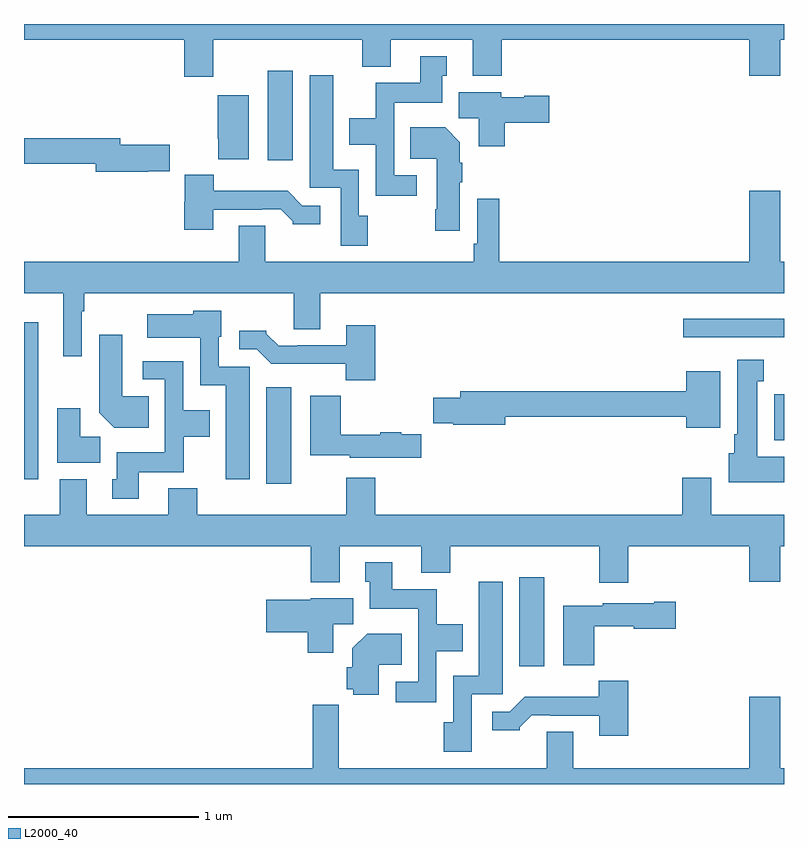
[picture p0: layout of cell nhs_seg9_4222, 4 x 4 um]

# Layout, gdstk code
import gdstk
lib = gdstk.Library(unit=1e-6, precision=1e-09)
def R(c, l, rs):  # rectangles x0, y0, x1, y1
    for r in rs: c.add(gdstk.rectangle(r[:2], r[2:], *l))
def P(c, l, *ps):  # polygons
    for p in ps: c.add(gdstk.Polygon(p, *l))
L2000_40 = (2000, 40)

nhs_seg9_4222 = lib.new_cell('nhs_seg9_4222')
R(nhs_seg9_4222, L2000_40, [(355.607,1197.12,355.738,1197.589), (354.275,1198.08,354.406,1198.588), (353,1198.104,353.074,1198.93), (356.948,1198.31,357,1198.552), (356.469,1198.851,357,1198.948), (354.284,1199.784,354.415,1200.253)])
P(nhs_seg9_4222, L2000_40, [(353.995,1200.416),(354.779,1200.416),(354.779,1200.275),(354.931,1200.275),(354.931,1200.416),(355.361,1200.416),(355.361,1200.227),(355.514,1200.227),(355.514,1200.416),(356.816,1200.416),(356.816,1200.228),(356.98,1200.228),(356.98,1200.416),(357,1200.416),(357,1200.5),(353,1200.5),(353,1200.416),(353.843,1200.416),(353.843,1200.222),(353.995,1200.222)],
  [(355.066,1199.703),(354.948,1199.703),(354.948,1200.086),(355.201,1200.086),(355.201,1200.228),(355.225,1200.228),(355.225,1200.331),(355.085,1200.331),(355.085,1200.19),(354.85,1200.19),(354.85,1200.004),(354.713,1200.004),(354.713,1199.864),(354.852,1199.864),(354.852,1199.595),(355.066,1199.595)],
  [(354.81,1199.49),(354.762,1199.49),(354.762,1199.734),(354.628,1199.734),(354.628,1200.229),(354.503,1200.229),(354.503,1199.637),(354.666,1199.637),(354.666,1199.334),(354.81,1199.334)],
  [(355.529,1199.981),(355.765,1199.981),(355.765,1200.123),(355.632,1200.123),(355.632,1200.115),(355.512,1200.115),(355.512,1200.142),(355.289,1200.142),(355.289,1200.004),(355.394,1200.004),(355.394,1199.856),(355.529,1199.856)],
  [(354.184,1200.124),(354.02,1200.124),(354.02,1199.896),(354.022,1199.896),(354.022,1199.789),(354.184,1199.789)],
  [(355.294,1199.668),(355.307,1199.668),(355.307,1199.771),(355.294,1199.771),(355.294,1199.878),(355.216,1199.956),(355.033,1199.956),(355.033,1199.792),(355.172,1199.792),(355.172,1199.524),(355.165,1199.524),(355.165,1199.412),(355.294,1199.412)],
  [(353.654,1199.724),(353.767,1199.724),(353.767,1199.864),(353.506,1199.864),(353.506,1199.9),(353,1199.9),(353,1199.764),(353.378,1199.764),(353.378,1199.722),(353.654,1199.722)],
  [(353.995,1199.523),(354.251,1199.523),(354.251,1199.526),(354.35,1199.526),(354.414,1199.462),(354.414,1199.447),(354.559,1199.447),(354.559,1199.544),(354.465,1199.544),(354.387,1199.623),(353.998,1199.623),(353.998,1199.707),(353.846,1199.707),(353.846,1199.565),(353.843,1199.565),(353.843,1199.418),(353.995,1199.418)],
  [(353.304,1198.988),(353.317,1198.988),(353.317,1199.084),(354.419,1199.084),(354.419,1198.894),(354.559,1198.894),(354.559,1199.084),(357,1199.084),(357,1199.248),(356.98,1199.248),(356.98,1199.623),(356.816,1199.623),(356.816,1199.248),(355.502,1199.248),(355.502,1199.581),(355.386,1199.581),(355.386,1199.344),(355.366,1199.344),(355.366,1199.248),(354.271,1199.248),(354.271,1199.438),(354.131,1199.438),(354.131,1199.248),(353,1199.248),(353,1199.084),(353.207,1199.084),(353.207,1198.752),(353.304,1198.752)],
  [(354.187,1198.695),(354.024,1198.695),(354.024,1198.854),(354.037,1198.854),(354.037,1198.99),(353.892,1198.99),(353.892,1198.972),(353.649,1198.972),(353.649,1198.85),(353.928,1198.85),(353.928,1198.598),(354.062,1198.598),(354.062,1198.104),(354.187,1198.104)],
  [(354.848,1198.915),(354.695,1198.915),(354.695,1198.809),(354.439,1198.809),(354.439,1198.806),(354.34,1198.806),(354.276,1198.87),(354.276,1198.885),(354.132,1198.885),(354.132,1198.788),(354.225,1198.788),(354.301,1198.712),(354.693,1198.712),(354.693,1198.625),(354.848,1198.625)],
  [(353.657,1198.54),(353.518,1198.54),(353.518,1198.864),(353.396,1198.864),(353.396,1198.454),(353.474,1198.376),(353.657,1198.376)],
  [(357,1198.222),(356.86,1198.222),(356.86,1198.619),(356.893,1198.619),(356.893,1198.732),(356.753,1198.732),(356.753,1198.342),(356.738,1198.342),(356.738,1198.242),(356.708,1198.242),(356.708,1198.088),(357,1198.088)],
  [(353.605,1198.142),(353.841,1198.142),(353.841,1198.328),(353.977,1198.328),(353.977,1198.468),(353.838,1198.468),(353.838,1198.725),(353.625,1198.725),(353.625,1198.629),(353.742,1198.629),(353.742,1198.246),(353.489,1198.246),(353.489,1198.104),(353.465,1198.104),(353.465,1198.002),(353.605,1198.002)],
  [(356.665,1198.672),(356.486,1198.672),(356.486,1198.568),(355.295,1198.568),(355.295,1198.532),(355.153,1198.532),(355.153,1198.398),(355.258,1198.398),(355.258,1198.39),(355.534,1198.39),(355.534,1198.432),(356.486,1198.432),(356.486,1198.376),(356.665,1198.376)],
  [(355.091,1198.34),(354.986,1198.34),(354.986,1198.352),(354.876,1198.352),(354.876,1198.339),(354.668,1198.339),(354.668,1198.543),(354.506,1198.543),(354.506,1198.229),(354.714,1198.229),(354.714,1198.217),(355.091,1198.217)],
  [(353.401,1198.328),(353.296,1198.328),(353.296,1198.477),(353.174,1198.477),(353.174,1198.19),(353.401,1198.19)],
  [(355.091,1197.611),(355.244,1197.611),(355.244,1197.752),(356.027,1197.752),(356.027,1197.558),(356.18,1197.558),(356.18,1197.752),(356.816,1197.752),(356.816,1197.564),(356.98,1197.564),(356.98,1197.752),(357,1197.752),(357,1197.916),(356.617,1197.916),(356.617,1198.111),(356.465,1198.111),(356.465,1197.916),(354.848,1197.916),(354.848,1198.111),(354.695,1198.111),(354.695,1197.916),(353.912,1197.916),(353.912,1198.057),(353.759,1198.057),(353.759,1197.916),(353.329,1197.916),(353.329,1198.105),(353.189,1198.105),(353.189,1197.916),(353,1197.916),(353,1197.752),(354.509,1197.752),(354.509,1197.563),(354.661,1197.563),(354.661,1197.752),(355.091,1197.752)],
  [(355.17,1197.2),(355.309,1197.2),(355.309,1197.34),(355.173,1197.34),(355.173,1197.526),(354.937,1197.526),(354.937,1197.667),(354.797,1197.667),(354.797,1197.564),(354.821,1197.564),(354.821,1197.422),(355.074,1197.422),(355.074,1197.039),(354.957,1197.039),(354.957,1196.931),(355.17,1196.931)],
  [(355.356,1196.973),(355.519,1196.973),(355.519,1197.565),(355.394,1197.565),(355.394,1197.07),(355.26,1197.07),(355.26,1196.826),(355.208,1196.826),(355.208,1196.67),(355.356,1196.67)],
  [(354.628,1197.34),(354.733,1197.34),(354.733,1197.478),(354.51,1197.478),(354.51,1197.469),(354.276,1197.469),(354.276,1197.299),(354.494,1197.299),(354.494,1197.192),(354.628,1197.192)],
  [(356,1197.329),(356.208,1197.329),(356.208,1197.317),(356.431,1197.317),(356.431,1197.459),(356.318,1197.459),(356.318,1197.451),(356.046,1197.451),(356.046,1197.439),(355.838,1197.439),(355.838,1197.125),(356,1197.125)],
  [(354.868,1197.128),(354.989,1197.128),(354.989,1197.292),(354.806,1197.292),(354.728,1197.214),(354.728,1197.114),(354.698,1197.114),(354.698,1197),(354.732,1197),(354.732,1196.971),(354.868,1196.971)],
  [(356.18,1197.043),(356.025,1197.043),(356.025,1196.959),(355.636,1196.959),(355.557,1196.88),(355.464,1196.88),(355.464,1196.783),(355.608,1196.783),(355.608,1196.798),(355.672,1196.862),(355.771,1196.862),(355.771,1196.859),(356.027,1196.859),(356.027,1196.754),(356.18,1196.754)],
  [(357,1196.584),(356.98,1196.584),(356.98,1196.959),(356.816,1196.959),(356.816,1196.584),(355.891,1196.584),(355.891,1196.774),(355.751,1196.774),(355.751,1196.584),(354.656,1196.584),(354.656,1196.917),(354.52,1196.917),(354.52,1196.584),(353,1196.584),(353,1196.5),(357,1196.5)])

lib.write_gds('nhs_seg9_4222.gds')
